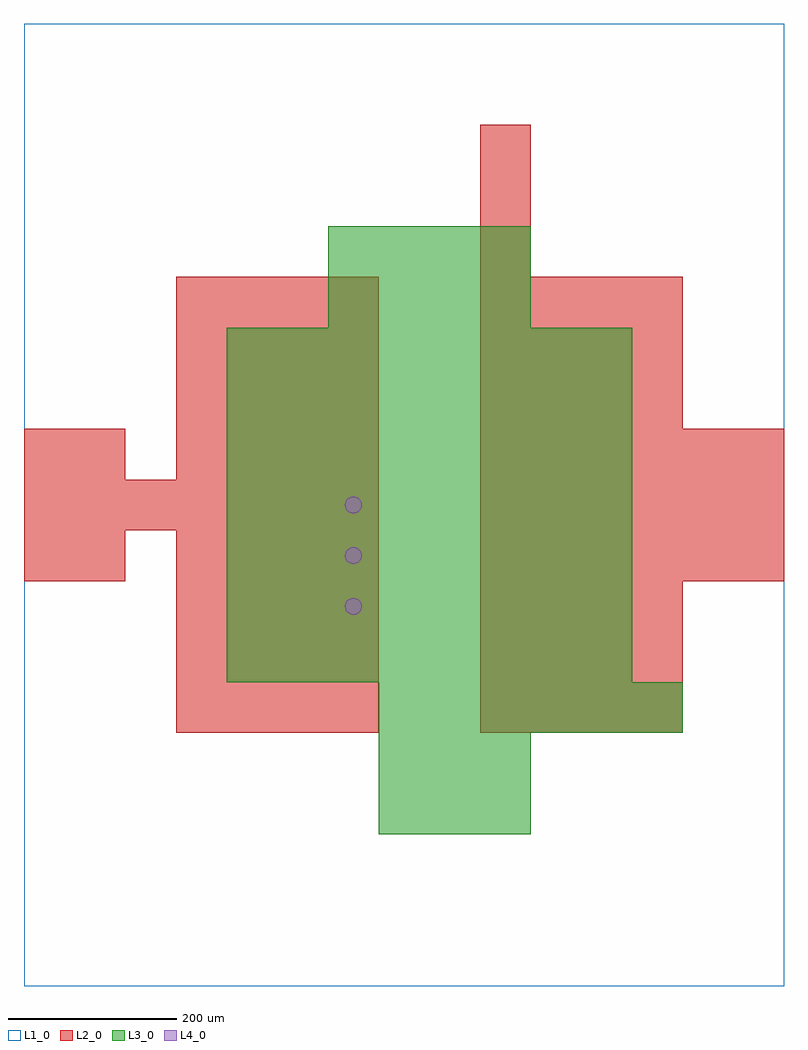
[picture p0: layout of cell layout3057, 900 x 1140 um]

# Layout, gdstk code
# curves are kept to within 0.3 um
import gdstk
lib = gdstk.Library(unit=1e-6, precision=1e-09)
def R(c, l, rs):  # rectangles x0, y0, x1, y1
    for r in rs: c.add(gdstk.rectangle(r[:2], r[2:], *l))
def A(c, l, x, y, w, h, nx, ny, dx, dy):  # array of equal rectangles
    R(c, l, [(x+i*dx, y+j*dy, x+i*dx+w, y+j*dy+h) for i in range(nx) for j in range(ny)])
def P(c, l, *ps):  # polygons
    for p in ps: c.add(gdstk.Polygon(p, *l))
L1_0 = (1, 0)
L2_0 = (2, 0)
L3_0 = (3, 0)
L4_0 = (4, 0)

layout3057 = lib.new_cell('layout3057')
R(layout3057, L1_0, [(0,0,900,1140)])
A(layout3057, L2_0, 180, 300, 60, 60, 4, 4, 60, 60)
A(layout3057, L2_0, 540, 300, 60, 60, 4, 3, 60, 60)
A(layout3057, L2_0, 540, 480, 60, 60, 6, 3, 60, 60)
A(layout3057, L2_0, 0, 540, 60, 60, 7, 1, 60, 0)
A(layout3057, L2_0, 180, 600, 60, 60, 4, 4, 60, 60)
A(layout3057, L2_0, 540, 660, 60, 60, 4, 3, 60, 60)
A(layout3057, L2_0, 540, 840, 60, 60, 1, 3, 0, 60)
R(layout3057, L2_0, [(0,480,60,540), (60,480,120,540), (0,600,60,660), (60,600,120,660)])
A(layout3057, L3_0, 420, 180, 60, 60, 3, 2, 60, 60)
A(layout3057, L3_0, 420, 300, 60, 60, 6, 1, 60, 0)
A(layout3057, L3_0, 240, 360, 60, 60, 8, 7, 60, 60)
A(layout3057, L3_0, 360, 780, 60, 60, 4, 2, 60, 60)
P(layout3057, L4_0, [(400,450),(399.239,453.827),(397.071,457.071),(393.827,459.239),(390,460),(386.173,459.239),(382.929,457.071),(380.761,453.827),(380,450),(380.761,446.173),(382.929,442.929),(386.173,440.761),(390,440),(393.827,440.761),(397.071,442.929),(399.239,446.173)],
  [(400,510),(399.239,513.827),(397.071,517.071),(393.827,519.239),(390,520),(386.173,519.239),(382.929,517.071),(380.761,513.827),(380,510),(380.761,506.173),(382.929,502.929),(386.173,500.761),(390,500),(393.827,500.761),(397.071,502.929),(399.239,506.173)],
  [(400,570),(399.239,573.827),(397.071,577.071),(393.827,579.239),(390,580),(386.173,579.239),(382.929,577.071),(380.761,573.827),(380,570),(380.761,566.173),(382.929,562.929),(386.173,560.761),(390,560),(393.827,560.761),(397.071,562.929),(399.239,566.173)])

lib.write_gds('layout3057.gds')
